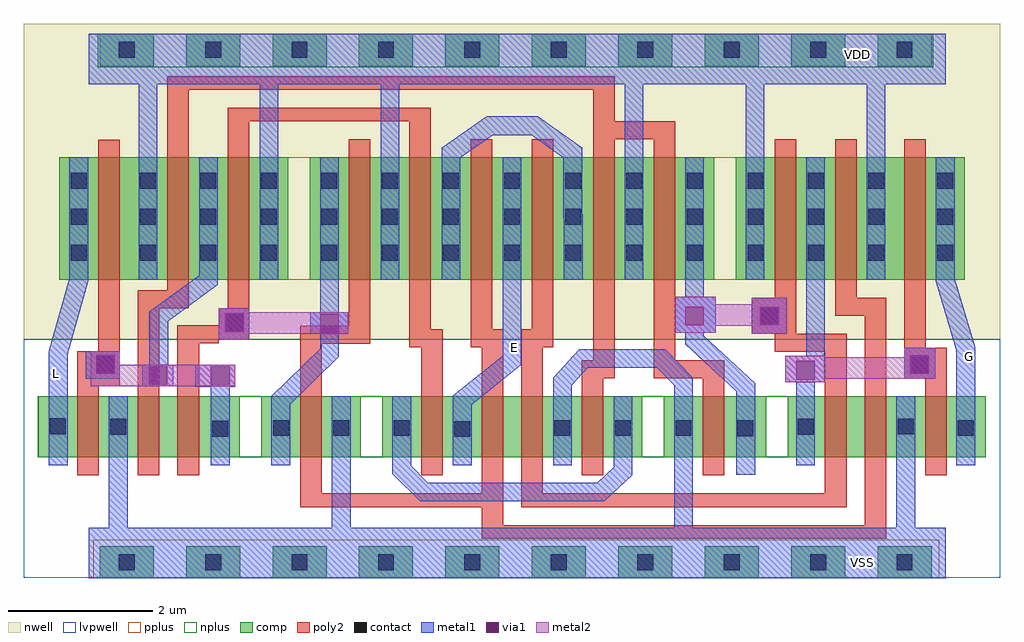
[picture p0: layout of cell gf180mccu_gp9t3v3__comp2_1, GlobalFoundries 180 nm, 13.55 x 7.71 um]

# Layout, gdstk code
import gdstk
lib = gdstk.Library(unit=1e-6, precision=1e-09)
def R(c, l, rs):  # rectangles x0, y0, x1, y1
    for r in rs: c.add(gdstk.rectangle(r[:2], r[2:], *l))
def A(c, l, x, y, w, h, nx, ny, dx, dy):  # array of equal rectangles
    R(c, l, [(x+i*dx, y+j*dy, x+i*dx+w, y+j*dy+h) for i in range(nx) for j in range(ny)])
def P(c, l, *ps):  # polygons
    for p in ps: c.add(gdstk.Polygon(p, *l))
nwell = (21, 0)
comp = (22, 0)
poly2 = (30, 0)
pplus = (31, 0)
nplus = (32, 0)
contact = (33, 0)
metal1 = (34, 0)
via1 = (35, 0)
metal2 = (36, 0)
lvpwell = (204, 0)

gf180mccu_gp9t3v3__comp2 = lib.new_cell('gf180mccu_gp9t3v3__comp2_1')
R(gf180mccu_gp9t3v3__comp2, nwell, [(-7.7,-2.086,5.85,2.3)])
A(gf180mccu_gp9t3v3__comp2, comp, -6.65, -5.405, 0.75, 0.45, 10, 2, 1.2, 7.115)
R(gf180mccu_gp9t3v3__comp2, comp, [(-7.5,-3.725,-4.705,-2.875), (-4.405,-3.725,-3.025,-2.875), (-2.725,-3.725,0.885,-2.875), (1.185,-3.725,2.605,-2.875), (2.905,-3.725,5.65,-2.875), (-7.21,-1.26,-4.03,0.44), (-3.73,-1.26,1.88,0.44), (2.18,-1.26,5.36,0.44)])
A(gf180mccu_gp9t3v3__comp2, poly2, -2.35, -1.945, 0.3, 2.635, 3, 1, 0.85, 0)
R(gf180mccu_gp9t3v3__comp2, poly2, [(-1.345,-4.855,4.27,-4.665), (-1.345,-4.665,-1.045,-4.415), (3.97,-4.665,4.27,-4.415), (-3.865,-4.415,-1.345,-4.225), (-1.345,-4.415,-1.045,-4.225), (-0.795,-4.415,3.72,-4.225), (3.97,-4.415,4.27,-4.225), (-3.865,-4.225,-3.565,-3.975), (-1.345,-4.225,-1.045,-3.975), (-0.795,-4.225,-0.495,-3.975), (3.42,-4.225,3.72,-3.975), (3.97,-4.225,4.27,-3.975), (-6.96,-3.975,-6.66,-2.735), (-6.12,-3.975,-5.82,-2.74), (-5.57,-3.975,-5.27,-2.14), (-3.865,-3.975,-3.565,-2.74), (-2.185,-3.975,-1.885,-2.74), (-1.345,-3.975,-1.045,-2.74), (-0.795,-3.975,-0.495,-2.74), (1.725,-3.975,2.025,-2.625), (3.42,-3.975,3.72,-2.01), (3.97,-3.975,4.27,-2.74), (4.81,-3.975,5.11,-2.635), (-6.12,-2.74,-5.82,-1.65), (-3.865,-2.74,-3.565,-2.145), (-2.185,-2.74,-1.885,-2.195), (-1.345,-2.74,-1.045,-2.195), (-0.795,-2.74,-0.495,-2.195), (3.97,-2.74,4.27,-1.76), (-6.96,-2.735,-6.37,-2.25), (4.52,-2.635,5.11,-2.2), (0.045,-2.625,0.5,-2.375), (1.04,-2.625,2.025,-2.375), (0.2,-2.375,0.5,0.69), (1.04,-2.375,1.34,0.69), (2.72,-2.26,3.72,-2.01), (-6.67,-2.25,-6.37,0.689), (4.52,-2.2,4.82,0.69), (-2.35,-2.195,-1.885,-1.945), (-1.5,-2.195,-1.045,-1.945), (-0.795,-2.195,-0.35,-1.945), (-3.865,-2.145,-2.89,-1.895), (-5.57,-2.14,-4.995,-1.89), (-4.995,-2.09,-4.57,-1.65), (2.405,-2.01,3.02,-1.51), (-3.19,-1.895,-2.89,0.69), (3.56,-1.76,4.27,-1.51), (-6.12,-1.65,-5.41,-1.4), (-4.87,-1.65,-4.57,0.69), (2.72,-1.51,3.02,0.69), (3.56,-1.51,3.86,0.69), (-5.71,-1.4,-5.41,0.69), (-5.71,0.69,-5.41,0.94), (-4.87,0.69,-4.57,0.94), (-2.35,0.69,-2.05,0.94), (0.2,0.69,1.34,0.94), (-5.71,0.94,-5.41,1.13), (-4.87,0.94,-2.05,1.13), (0.2,0.94,0.5,1.13), (-5.71,1.13,-5.41,1.38), (0.2,1.13,0.5,1.38), (-5.71,1.38,0.5,1.57)])
P(gf180mccu_gp9t3v3__comp2, poly2, [(0.045,-3.975),(0.045,-2.625),(0.345,-2.625),(0.345,-3.975),(0.11,-3.975)])
R(gf180mccu_gp9t3v3__comp2, pplus, [(-6.74,-5.405,5.005,-4.87), (-7.21,-1.26,5.36,0.44)])
R(gf180mccu_gp9t3v3__comp2, nplus, [(-7.51,-3.725,5.65,-2.875), (-6.675,1.695,4.925,2.16)])
A(gf180mccu_gp9t3v3__comp2, contact, -6.385, -5.29, 0.22, 0.22, 10, 2, 1.2, 7.115)
A(gf180mccu_gp9t3v3__comp2, contact, -0.335, -3.425, 0.22, 0.22, 3, 1, 0.84, 0)
A(gf180mccu_gp9t3v3__comp2, contact, -7.05, -0.995, 0.22, 0.22, 1, 3, 0, 0.5)
A(gf180mccu_gp9t3v3__comp2, contact, -6.09, -0.995, 0.22, 0.22, 5, 3, 0.84, 0.5)
A(gf180mccu_gp9t3v3__comp2, contact, -1.885, -0.995, 0.22, 0.22, 3, 3, 0.85, 0.5)
A(gf180mccu_gp9t3v3__comp2, contact, 0.66, -0.995, 0.22, 0.22, 1, 3, 0, 0.5)
A(gf180mccu_gp9t3v3__comp2, contact, 1.5, -0.995, 0.22, 0.22, 1, 3, 0, 0.5)
A(gf180mccu_gp9t3v3__comp2, contact, 2.345, -0.995, 0.22, 0.22, 1, 3, 0, 0.5)
A(gf180mccu_gp9t3v3__comp2, contact, 3.18, -0.995, 0.22, 0.22, 1, 3, 0, 0.5)
A(gf180mccu_gp9t3v3__comp2, contact, 4.02, -0.995, 0.22, 0.22, 1, 3, 0, 0.5)
A(gf180mccu_gp9t3v3__comp2, contact, 4.98, -0.995, 0.22, 0.22, 1, 3, 0, 0.5)
R(gf180mccu_gp9t3v3__comp2, contact, [(-1.725,-3.44,-1.505,-3.22), (-5.085,-3.435,-4.865,-3.215), (2.205,-3.43,2.425,-3.21), (-4.24,-3.425,-4.02,-3.205), (-3.405,-3.425,-3.185,-3.205), (-2.565,-3.425,-2.345,-3.205), (5.265,-3.425,5.485,-3.205), (-6.5,-3.41,-6.28,-3.19), (3.045,-3.41,3.265,-3.19), (4.43,-3.405,4.65,-3.185), (-7.34,-3.4,-7.12,-3.18), (4.625,-2.55,4.845,-2.33), (-6.68,-2.54,-6.46,-2.32), (-4.885,-1.965,-4.665,-1.745), (2.535,-1.87,2.755,-1.65)])
R(gf180mccu_gp9t3v3__comp2, metal1, [(-6.055,-2.735,-5.625,-2.435), (2.87,-2.68,3.42,-2.31), (-6.845,-2.635,-6.37,-2.25), (4.52,-2.635,4.95,-2.2), (-4.995,-2.09,-4.57,-1.65), (-3.725,-2.01,-3.2,-1.71), (2.405,-2.01,2.89,-1.51), (1.34,-1.995,1.905,-1.495)])
P(gf180mccu_gp9t3v3__comp2, metal1, [(-5.105,-3.835),(-5.105,-2.74),(-5.32,-2.74),(-5.32,-2.44),(-4.77,-2.44),(-4.77,-2.74),(-4.845,-2.74),(-4.845,-3.835)])
R(gf180mccu_gp9t3v3__comp2, via1, [(-5.97,-2.716,-5.71,-2.456), (-5.105,-2.716,-4.845,-2.456), (3.02,-2.645,3.28,-2.385), (4.6,-2.565,4.86,-2.305), (-6.7,-2.56,-6.44,-2.3), (-3.59,-1.99,-3.33,-1.73), (-4.91,-1.985,-4.65,-1.725), (1.48,-1.89,1.74,-1.63), (2.515,-1.89,2.775,-1.63)])
R(gf180mccu_gp9t3v3__comp2, metal2, [(-6.77,-2.635,-6.37,-2.25), (-4.995,-2.09,-4.57,-1.65)])
P(gf180mccu_gp9t3v3__comp2, metal2, [(2.87,-2.68),(2.87,-2.66),(2.87,-2.36),(2.87,-2.31),(3.42,-2.31),(3.42,-2.335),(3.8,-2.335),(4.175,-2.335),(4.52,-2.335),(4.52,-2.2),(4.95,-2.2),(4.95,-2.635),(4.52,-2.635),(4.175,-2.635),(3.8,-2.635),(3.42,-2.635),(3.42,-2.68)],
  [(2.405,-2.01),(2.405,-1.895),(1.905,-1.895),(1.905,-1.995),(1.34,-1.995),(1.34,-1.495),(1.905,-1.495),(1.905,-1.595),(2.405,-1.595),(2.405,-1.51),(2.89,-1.51),(2.89,-2.01)])
R(gf180mccu_gp9t3v3__comp2, lvpwell, [(-7.7,-5.395,5.85,-2.086)])
gf180mccu_gp9t3v3__comp2.add(gdstk.FlexPath([(0.615,-3.006),(0.615,-3.917),(0.307,-4.205),(-2.146,-4.205),(-2.455,-3.896),(-2.455,-3.006)], 0.26, ends="extended", simple_path=True, layer=34, datatype=0))  # metal1
gf180mccu_gp9t3v3__comp2.add(gdstk.FlexPath([(4.75,-5.05),(-6.45,-5.05)], 0.7, ends="extended", simple_path=True, layer=34, datatype=0))  # metal1
gf180mccu_gp9t3v3__comp2.add(gdstk.FlexPath([(4.75,1.81),(-6.45,1.81)], 0.7, ends="extended", simple_path=True, layer=34, datatype=0))  # metal1
gf180mccu_gp9t3v3__comp2.add(gdstk.FlexPath([(-6.39,-3.005),(-6.39,-5.076)], 0.26, ends="extended", simple_path=True, layer=34, datatype=0))  # metal1
gf180mccu_gp9t3v3__comp2.add(gdstk.FlexPath([(4.54,-3.006),(4.54,-5.076)], 0.26, ends="extended", simple_path=True, layer=34, datatype=0))  # metal1
gf180mccu_gp9t3v3__comp2.add(gdstk.FlexPath([(-3.295,-3.006),(-3.295,-5.076)], 0.26, ends="extended", simple_path=True, layer=34, datatype=0))  # metal1
gf180mccu_gp9t3v3__comp2.add(gdstk.FlexPath([(-4.135,-3.705),(-4.135,-2.933),(-3.46,-2.273),(-3.46,0.31)], 0.26, ends="extended", simple_path=True, layer=34, datatype=0))  # metal1
gf180mccu_gp9t3v3__comp2.add(gdstk.FlexPath([(-4.3,-1.13),(-4.3,1.665)], 0.26, ends="extended", simple_path=True, layer=34, datatype=0))  # metal1
gf180mccu_gp9t3v3__comp2.add(gdstk.FlexPath([(-5.83,-2.59),(-5.83,-1.77),(-5.14,-1.26),(-5.14,0.31)], 0.26, ends="extended", simple_path=True, layer=34, datatype=0))  # metal1
gf180mccu_gp9t3v3__comp2.add(gdstk.FlexPath([(-5.98,-1.13),(-5.98,1.755)], 0.26, ends="extended", simple_path=True, layer=34, datatype=0))  # metal1
gf180mccu_gp9t3v3__comp2.add(gdstk.FlexPath([(-7.225,-3.705),(-7.225,-2.268),(-6.94,-1.26),(-6.94,0.31)], 0.26, ends="extended", simple_path=True, layer=34, datatype=0))  # metal1
gf180mccu_gp9t3v3__comp2.add(gdstk.FlexPath([(-1.615,-3.705),(-1.615,-2.932),(-0.925,-2.376),(-0.925,0.31)], 0.26, ends="extended", simple_path=True, layer=34, datatype=0))  # metal1
gf180mccu_gp9t3v3__comp2.add(gdstk.FlexPath([(-0.225,-3.705),(-0.224,-2.67),(0.069,-2.35),(1.145,-2.35),(1.455,-2.67),(1.455,-5.275)], 0.26, ends="extended", simple_path=True, layer=34, datatype=0))  # metal1
gf180mccu_gp9t3v3__comp2.add(gdstk.FlexPath([(5.375,-3.705),(5.375,-2.215),(5.09,-1.26),(5.09,0.31)], 0.26, ends="extended", simple_path=True, layer=34, datatype=0))  # metal1
gf180mccu_gp9t3v3__comp2.add(gdstk.FlexPath([(4.13,-1.13),(4.13,1.735)], 0.26, ends="extended", simple_path=True, layer=34, datatype=0))  # metal1
gf180mccu_gp9t3v3__comp2.add(gdstk.FlexPath([(3.15,-3.705),(3.15,-2.49)], 0.26, ends="extended", simple_path=True, layer=34, datatype=0))  # metal1
gf180mccu_gp9t3v3__comp2.add(gdstk.FlexPath([(0.77,-1.13),(0.77,1.645),(1.14,1.645),(1.14,1.77)], 0.26, ends="extended", simple_path=True, layer=34, datatype=0))  # metal1
gf180mccu_gp9t3v3__comp2.add(gdstk.FlexPath([(2.32,-3.835),(2.32,-2.75),(1.61,-2.095),(1.61,0.31)], 0.26, ends="extended", simple_path=True, layer=34, datatype=0))  # metal1
gf180mccu_gp9t3v3__comp2.add(gdstk.FlexPath([(2.45,-1.13),(2.45,1.66)], 0.26, ends="extended", simple_path=True, layer=34, datatype=0))  # metal1
gf180mccu_gp9t3v3__comp2.add(gdstk.FlexPath([(3.29,0.31),(3.29,-2.55)], 0.26, ends="extended", simple_path=True, layer=34, datatype=0))  # metal1
gf180mccu_gp9t3v3__comp2.add(gdstk.FlexPath([(-1.77,-1.13),(-1.77,0.506),(-1.233,0.88),(-0.612,0.88),(-0.082,0.505),(-0.075,-1.13)], 0.26, ends="extended", simple_path=True, layer=34, datatype=0))  # metal1
gf180mccu_gp9t3v3__comp2.add(gdstk.FlexPath([(-2.62,-1.13),(-2.62,1.705)], 0.26, ends="extended", simple_path=True, layer=34, datatype=0))  # metal1
gf180mccu_gp9t3v3__comp2.add(gdstk.FlexPath([(-6.62,-2.585),(-4.92,-2.585)], 0.3, ends="extended", simple_path=True, layer=36, datatype=0))  # metal2
gf180mccu_gp9t3v3__comp2.add(gdstk.FlexPath([(-4.845,-1.86),(-3.35,-1.86)], 0.3, ends="extended", simple_path=True, layer=36, datatype=0))  # metal2
gf180mccu_gp9t3v3__comp2.add(gdstk.Label('L', (-7.245,-2.565), layer=34, texttype=10))
gf180mccu_gp9t3v3__comp2.add(gdstk.Label('G', (5.42,-2.32), layer=34, texttype=10))
gf180mccu_gp9t3v3__comp2.add(gdstk.Label('E', (-0.885,-2.2), layer=34, texttype=10))
gf180mccu_gp9t3v3__comp2.add(gdstk.Label('VSS', (3.94,-5.185), layer=34, texttype=10))
gf180mccu_gp9t3v3__comp2.add(gdstk.Label('VDD', (3.875,1.865), layer=34, texttype=10))

lib.write_gds('gf180mccu_gp9t3v3__comp2_1.gds')
